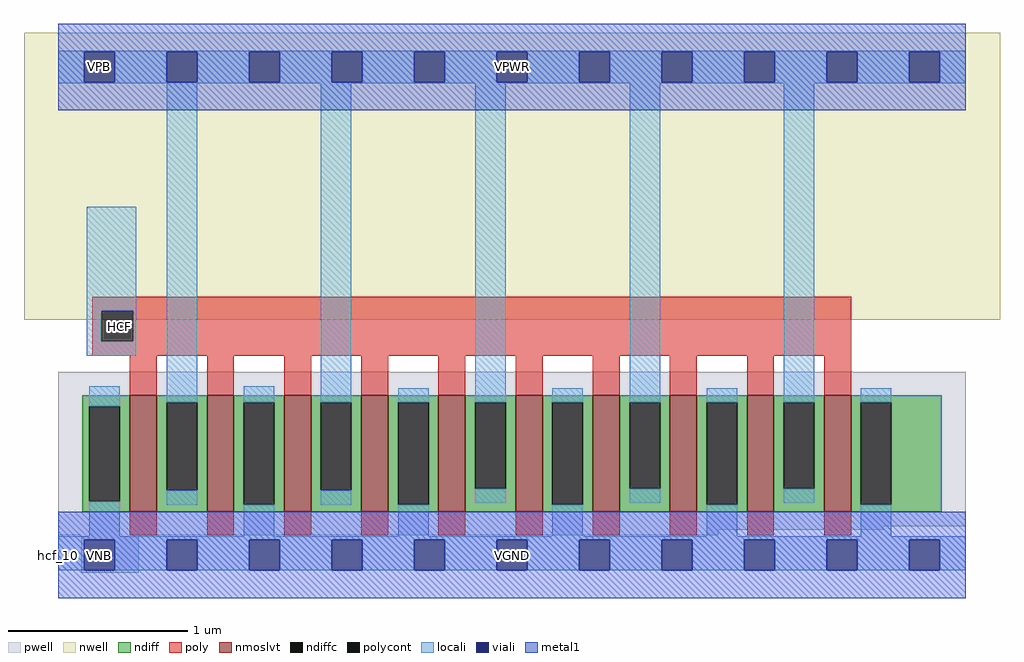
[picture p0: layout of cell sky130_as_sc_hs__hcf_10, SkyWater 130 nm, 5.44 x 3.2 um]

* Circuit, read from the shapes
.subckt sky130_as_sc_hs__hcf_10 VNB VPB VPWR VGND HCF
XM1 VPWR HCF VGND VNB sky130_fd_pr__nfet_01v8_lvt w=0.65 l=0.15 m=10
.ends

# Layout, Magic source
magic
tech sky130A
magscale 1 2
<< nwell >>
rect -38 262 1050 582
<< pwell >>
rect 0 32 1012 204
rect 0 28 920 32
rect 0 22 736 28
rect 26 -20 90 22
<< nmoslvt >>
rect 80 48 110 178
rect 166 48 196 178
rect 252 48 282 178
rect 338 48 368 178
rect 424 48 454 178
rect 510 48 540 178
rect 596 48 626 178
rect 682 48 712 178
rect 768 48 798 178
rect 854 48 884 178
<< ndiff >>
rect 27 166 80 178
rect 27 60 35 166
rect 69 60 80 166
rect 27 48 80 60
rect 110 170 166 178
rect 110 72 121 170
rect 155 72 166 170
rect 110 48 166 72
rect 196 170 252 178
rect 196 56 207 170
rect 241 56 252 170
rect 196 48 252 56
rect 282 170 338 178
rect 282 72 293 170
rect 327 72 338 170
rect 282 48 338 72
rect 368 170 424 178
rect 368 56 379 170
rect 413 56 424 170
rect 368 48 424 56
rect 454 170 510 178
rect 454 74 465 170
rect 499 74 510 170
rect 454 48 510 74
rect 540 170 596 178
rect 540 56 551 170
rect 585 56 596 170
rect 540 48 596 56
rect 626 170 682 178
rect 626 74 637 170
rect 671 74 682 170
rect 626 48 682 74
rect 712 170 768 178
rect 712 56 723 170
rect 757 56 768 170
rect 712 48 768 56
rect 798 170 854 178
rect 798 74 809 170
rect 843 74 854 170
rect 798 48 854 74
rect 884 170 985 178
rect 884 56 895 170
rect 929 56 985 170
rect 884 48 985 56
<< ndiffc >>
rect 35 60 69 166
rect 121 72 155 170
rect 207 56 241 170
rect 293 72 327 170
rect 379 56 413 170
rect 465 74 499 170
rect 551 56 585 170
rect 637 74 671 170
rect 723 56 757 170
rect 809 74 843 170
rect 895 56 929 170
<< poly >>
rect 38 272 884 288
rect 38 238 48 272
rect 84 238 884 272
rect 38 222 884 238
rect 80 178 110 222
rect 166 178 196 222
rect 252 178 282 222
rect 338 178 368 222
rect 424 178 454 222
rect 510 178 540 222
rect 596 178 626 222
rect 682 178 712 222
rect 768 178 798 222
rect 854 178 884 222
rect 80 22 110 48
rect 166 22 196 48
rect 252 22 282 48
rect 338 22 368 48
rect 424 22 454 48
rect 510 22 540 48
rect 596 22 626 48
rect 682 22 712 48
rect 768 22 798 48
rect 854 22 884 48
<< polycont >>
rect 48 238 84 272
<< locali >>
rect 0 561 1012 562
rect 0 527 29 561
rect 63 527 121 561
rect 155 527 213 561
rect 247 527 305 561
rect 339 527 397 561
rect 431 527 489 561
rect 523 527 581 561
rect 615 527 673 561
rect 707 527 765 561
rect 799 527 857 561
rect 891 527 949 561
rect 983 527 1012 561
rect 0 526 1012 527
rect 32 272 87 388
rect 32 238 48 272
rect 84 238 87 272
rect 32 222 87 238
rect 35 166 69 188
rect 35 21 69 60
rect 121 170 155 526
rect 121 56 155 72
rect 207 170 241 188
rect 293 170 327 526
rect 293 56 327 72
rect 379 170 413 186
rect 465 170 499 526
rect 465 58 499 74
rect 551 170 585 186
rect 207 21 241 56
rect 379 21 413 56
rect 637 170 671 526
rect 637 58 671 74
rect 723 170 757 186
rect 551 21 585 56
rect 809 170 843 526
rect 809 58 843 74
rect 895 170 929 186
rect 723 21 757 56
rect 895 21 929 56
rect 0 17 1012 21
rect 0 -17 29 17
rect 63 -17 121 17
rect 155 -17 213 17
rect 247 -17 305 17
rect 339 -17 397 17
rect 431 -17 489 17
rect 523 -17 581 17
rect 615 -17 673 17
rect 707 -17 765 17
rect 799 -17 857 17
rect 891 -17 949 17
rect 983 -17 1012 17
<< viali >>
rect 29 527 63 561
rect 121 527 155 561
rect 213 527 247 561
rect 305 527 339 561
rect 397 527 431 561
rect 489 527 523 561
rect 581 527 615 561
rect 673 527 707 561
rect 765 527 799 561
rect 857 527 891 561
rect 949 527 983 561
rect 29 -17 63 17
rect 121 -17 155 17
rect 213 -17 247 17
rect 305 -17 339 17
rect 397 -17 431 17
rect 489 -17 523 17
rect 581 -17 615 17
rect 673 -17 707 17
rect 765 -17 799 17
rect 857 -17 891 17
rect 949 -17 983 17
<< metal1 >>
rect 0 561 1012 592
rect 0 527 29 561
rect 63 527 121 561
rect 155 527 213 561
rect 247 527 305 561
rect 339 527 397 561
rect 431 527 489 561
rect 523 527 581 561
rect 615 527 673 561
rect 707 527 765 561
rect 799 527 857 561
rect 891 527 949 561
rect 983 527 1012 561
rect 0 496 1012 527
rect 0 17 1012 48
rect 0 -17 29 17
rect 63 -17 121 17
rect 155 -17 213 17
rect 247 -17 305 17
rect 339 -17 397 17
rect 431 -17 489 17
rect 523 -17 581 17
rect 615 -17 673 17
rect 707 -17 765 17
rect 799 -17 857 17
rect 891 -17 949 17
rect 983 -17 1012 17
rect 0 -48 1012 -17
<< labels >>
rlabel comment s 0 0 0 0 4 hcf_10
flabel pwell s 29 -17 63 17 0 FreeSans 200 0 0 0 VNB
port 1 nsew ground bidirectional
flabel pwell s 46 0 46 0 0 FreeSans 200 0 0 0 VNB
flabel nwell s 29 527 63 561 0 FreeSans 200 0 0 0 VPB
port 2 nsew power bidirectional
flabel nwell s 46 544 46 544 0 FreeSans 200 0 0 0 VPB
flabel metal1 s 29 527 63 561 0 FreeSans 200 0 0 0 VPWR
port 3 nsew power bidirectional abutment
flabel metal1 s 29 -17 63 17 0 FreeSans 200 0 0 0 VGND
port 4 nsew ground bidirectional abutment
rlabel metal1 s 0 -48 1012 48 1 VGND
port 4 nsew ground bidirectional abutment
rlabel metal1 s 0 496 1012 592 1 VPWR
port 3 nsew power bidirectional abutment
flabel locali 51 238 85 272 0 FreeSans 200 0 0 0 HCF
port 5 nsew signal input
flabel locali 68 255 68 255 0 FreeSans 200 0 0 0 HCF
<< properties >>
string FIXED_BBOX 0 0 1012 544
string GDS_FILE $PDKPATH/libs.ref/sky130_as_sc_hs/gds/sky130_as_sc_hs__hcf_10.gds
string LEFclass CORE
string LEFsite unithd
string LEFsymmetry X Y R90
string MASKHINTS_LVTN 0 -4 1012 220
string MASKHINTS_NSDM 0 -38 1012 209
string MASKHINTS_PSDM 0 273 1012 582
<< end >>
